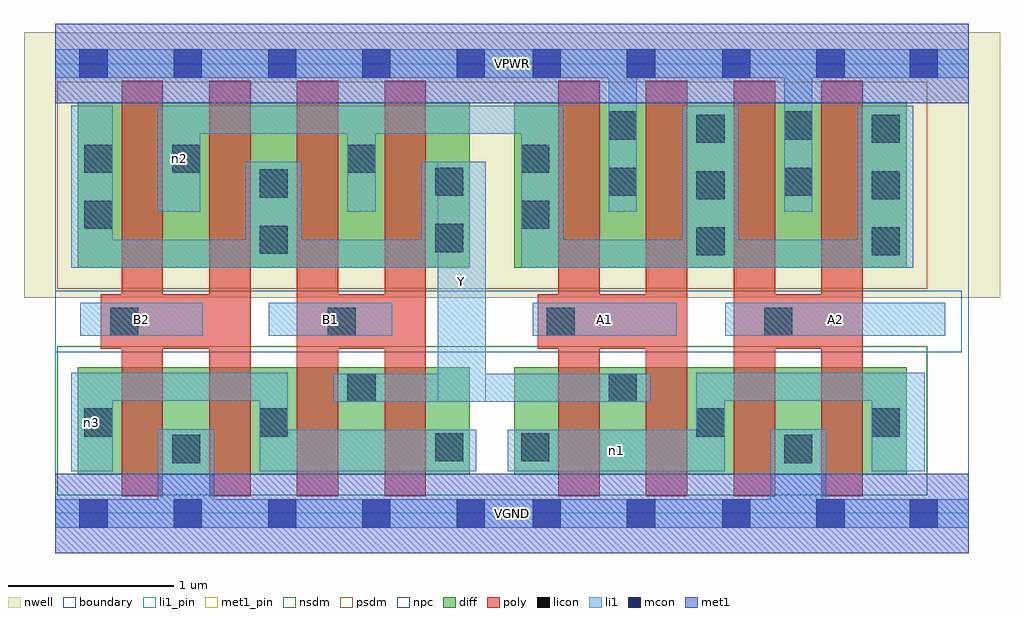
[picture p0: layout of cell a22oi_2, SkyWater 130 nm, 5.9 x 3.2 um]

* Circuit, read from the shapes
.subckt a22oi_2 A1 A2 B1 B2 VGND VPWR Y n1 n2 n3
XM1 VGND B2 n3 VSUBS sky130_fd_pr__nfet_01v8 w=0.65 l=0.25 m=2
XM2 Y B1 n3 VSUBS sky130_fd_pr__nfet_01v8 w=0.65 l=0.25 m=2
XM3 Y A1 n1 VSUBS sky130_fd_pr__nfet_01v8 w=0.65 l=0.25 m=2
XM4 VGND A2 n1 VSUBS sky130_fd_pr__nfet_01v8 w=0.65 l=0.25 m=2
XM5 n2 B2 Y n4 sky130_fd_pr__pfet_01v8 w=1 l=0.25 m=2
XM6 n2 B1 Y n4 sky130_fd_pr__pfet_01v8 w=1 l=0.25 m=2
XM7 VPWR A1 n2 n4 sky130_fd_pr__pfet_01v8 w=1 l=0.25 m=2
XM8 VPWR A2 n2 n4 sky130_fd_pr__pfet_01v8 w=1 l=0.25 m=2
.ends

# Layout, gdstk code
import gdstk
lib = gdstk.Library(unit=1e-6, precision=1e-09)
def R(c, l, rs):  # rectangles x0, y0, x1, y1
    for r in rs: c.add(gdstk.rectangle(r[:2], r[2:], *l))
def A(c, l, x, y, w, h, nx, ny, dx, dy):  # array of equal rectangles
    R(c, l, [(x+i*dx, y+j*dy, x+i*dx+w, y+j*dy+h) for i in range(nx) for j in range(ny)])
nwell = (64, 20)
diff = (65, 20)
poly = (66, 20)
licon = (66, 44)
li1_pin = (67, 16)
li1 = (67, 20)
mcon = (67, 44)
met1_pin = (68, 16)
met1 = (68, 20)
nsdm = (93, 44)
psdm = (94, 20)
npc = (95, 20)
boundary = (235, 4)

a22oi_2 = lib.new_cell('a22oi_2')
R(a22oi_2, nwell, [(-0.19,1.305,5.71,2.91), (0,1.305,5.52,2.91)])
R(a22oi_2, diff, [(0.135,0.235,2.505,0.885), (2.775,0.235,5.145,0.885), (0.135,1.485,2.505,2.485), (2.775,1.485,5.145,2.485)])
A(a22oi_2, poly, 0.4, 0.105, 0.25, 2.51, 4, 1, 0.53, 0)
A(a22oi_2, poly, 3.04, 0.105, 0.25, 2.51, 4, 1, 0.53, 0)
R(a22oi_2, poly, [(0.275,0.995,1.18,1.325), (1.46,0.995,2.24,1.325), (2.915,0.995,3.82,1.325), (4.1,0.995,4.88,1.325)])
A(a22oi_2, licon, 3.875, 1.56, 0.17, 0.17, 1, 3, 0, 0.34)
A(a22oi_2, licon, 4.935, 1.56, 0.17, 0.17, 1, 3, 0, 0.34)
R(a22oi_2, licon, [(0.705,0.305,0.875,0.475), (4.405,0.305,4.575,0.475), (2.295,0.315,2.465,0.485), (2.815,0.315,2.985,0.485), (0.175,0.465,0.345,0.635), (1.235,0.465,1.405,0.635), (3.875,0.465,4.045,0.635), (4.935,0.465,5.105,0.635), (1.765,0.675,1.935,0.845), (3.345,0.675,3.515,0.845), (0.33,1.075,0.5,1.245), (1.645,1.075,1.815,1.245), (2.97,1.075,3.14,1.245), (4.285,1.075,4.455,1.245), (1.235,1.57,1.405,1.74), (2.295,1.58,2.465,1.75), (0.175,1.72,0.345,1.89), (2.815,1.72,2.985,1.89), (1.235,1.91,1.405,2.08), (2.295,1.92,2.465,2.09), (3.345,1.92,3.515,2.09), (4.405,1.92,4.575,2.09), (0.175,2.06,0.345,2.23), (0.705,2.06,0.875,2.23), (1.765,2.06,1.935,2.23), (2.815,2.06,2.985,2.23), (3.345,2.26,3.515,2.43), (4.405,2.26,4.575,2.43)])
R(a22oi_2, li1_pin, [(2.31,0.675,2.6,2.125), (0.15,1.075,0.89,1.275), (1.29,1.075,2.035,1.275), (2.885,1.075,3.755,1.275), (4.05,1.075,5.38,1.275)])
R(a22oi_2, li1, [(0,-0.085,5.52,0.085), (0.62,-0.085,0.96,0.51), (4.32,-0.085,4.66,0.51), (0.095,0.255,0.345,0.85), (1.235,0.255,2.545,0.505), (1.235,0.255,1.405,0.85), (2.735,0.255,4.045,0.505), (3.875,0.255,4.045,0.85), (4.935,0.255,5.255,0.85), (1.68,0.675,3.6,0.845), (2.31,0.675,2.6,2.125), (0.095,0.68,1.405,0.85), (3.875,0.68,5.255,0.85), (0.15,1.075,0.89,1.275), (1.29,1.075,2.035,1.275), (2.885,1.075,3.755,1.275), (4.05,1.075,5.38,1.275), (0.095,1.485,2.6,1.655), (0.095,1.485,0.345,2.465), (1.15,1.485,1.49,2.125), (2.21,1.485,2.6,2.125), (2.815,1.485,5.185,1.655), (2.815,1.485,3.07,2.465), (3.79,1.485,4.13,2.465), (4.85,1.485,5.185,2.465), (0.62,1.825,0.875,2.465), (1.765,1.825,1.935,2.465), (3.345,1.825,3.515,2.805), (4.405,1.825,4.575,2.805), (0.62,2.295,3.07,2.465), (0,2.635,5.52,2.805)])
A(a22oi_2, mcon, 0.145, -0.085, 0.17, 0.17, 5, 2, 0.57, 2.72)
R(a22oi_2, mcon, [(2.885,-0.085,3.055,0.085), (3.455,-0.085,3.625,0.085), (4.03,-0.085,4.2,0.085), (4.6,-0.085,4.77,0.085), (5.165,-0.085,5.335,0.085), (2.885,2.635,3.055,2.805), (3.455,2.635,3.625,2.805), (4.03,2.635,4.2,2.805), (4.6,2.635,4.77,2.805), (5.165,2.635,5.335,2.805)])
R(a22oi_2, met1_pin, [(0,-0.24,5.52,0.24), (0,2.48,5.52,2.96)])
R(a22oi_2, met1, [(0,-0.24,5.52,0.24), (0,2.48,5.52,2.96)])
R(a22oi_2, nsdm, [(0.01,0.11,5.27,1.01)])
R(a22oi_2, psdm, [(0.01,1.36,5.27,2.61)])
R(a22oi_2, npc, [(0,0.975,5.48,1.345)])
R(a22oi_2, boundary, [(0,0,5.52,2.72)])
a22oi_2.add(gdstk.Label('A1', (3.32,1.175), layer=67, texttype=5))
a22oi_2.add(gdstk.Label('A2', (4.715,1.175), layer=67, texttype=5))
a22oi_2.add(gdstk.Label('B1', (1.662,1.175), layer=67, texttype=5))
a22oi_2.add(gdstk.Label('B2', (0.52,1.175), layer=67, texttype=5))
a22oi_2.add(gdstk.Label('Y', (2.455,1.4), layer=67, texttype=5))
a22oi_2.add(gdstk.Label('n3', (0.22,0.552), layer=67, texttype=5))
a22oi_2.add(gdstk.Label('n1', (3.39,0.38), layer=67, texttype=5))
a22oi_2.add(gdstk.Label('n2', (0.747,2.145), layer=67, texttype=5))
a22oi_2.add(gdstk.Label('VPWR', (2.76,2.72), layer=68, texttype=5))
a22oi_2.add(gdstk.Label('VGND', (2.76,0), layer=68, texttype=5))
a22oi_2.add(gdstk.Label('A1', (3.32,1.175), layer=67, texttype=16))
a22oi_2.add(gdstk.Label('A2', (4.715,1.175), layer=67, texttype=16))
a22oi_2.add(gdstk.Label('B1', (1.662,1.175), layer=67, texttype=16))
a22oi_2.add(gdstk.Label('B2', (0.52,1.175), layer=67, texttype=16))
a22oi_2.add(gdstk.Label('Y', (2.455,1.4), layer=67, texttype=16))
a22oi_2.add(gdstk.Label('VPWR', (2.76,2.72), layer=68, texttype=16))
a22oi_2.add(gdstk.Label('VGND', (2.76,0), layer=68, texttype=16))

lib.write_gds('a22oi_2.gds')
